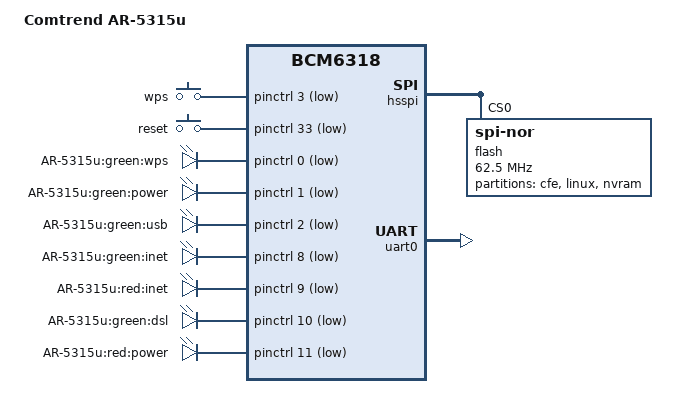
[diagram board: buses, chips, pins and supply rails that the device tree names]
/dts-v1/;

#include "bcm6318.dtsi"

#include <dt-bindings/input/input.h>

/ {
	model = "Comtrend AR-5315u";
	compatible = "comtrend,ar-5315u", "brcm,bcm6318";

	chosen {
		bootargs = "rootfstype=squashfs,jffs2 noinitrd console=ttyS0,115200";
		stdout-path = "serial0:115200n8";
	};

	gpio-keys-polled {
		compatible = "gpio-keys-polled";
		#address-cells = <1>;
		#size-cells = <0>;
		poll-interval = <20>;
		debounce-interval = <60>;

		wps {
			label = "wps";
			gpios = <&pinctrl 3 1>;
			linux,code = <KEY_WPS_BUTTON>;
		};
		reset {
			label = "reset";
			gpios = <&pinctrl 33 1>;
			linux,code = <KEY_RESTART>;
		};
	};

	gpio-leds {
		compatible = "gpio-leds";

		wps_green {
			label = "AR-5315u:green:wps";
			gpios = <&pinctrl 0 1>;
		};
		power_green {
			label = "AR-5315u:green:power";
			gpios = <&pinctrl 1 1>;
			default-state = "on";
		};
		usb_green {
			label = "AR-5315u:green:usb";
			gpios = <&pinctrl 2 1>;
		};
		inet_green {
			label = "AR-5315u:green:inet";
			gpios = <&pinctrl 8 1>;
		};
		inet_red {
			label = "AR-5315u:red:inet";
			gpios = <&pinctrl 9 1>;
		};
		dsl_green {
			label = "AR-5315u:green:dsl";
			gpios = <&pinctrl 10 1>;
		};
		power_red {
			label = "AR-5315u:red:power";
			gpios = <&pinctrl 11 1>;
		};
	};
};

&hsspi {
	status = "ok";

	flash@0 {
		compatible = "jedec,spi-nor";
		spi-max-frequency = <62500000>;
		spi-tx-bus-width = <2>;
		spi-rx-bus-width = <2>;
		reg = <0>;

		#address-cells = <1>;
		#size-cells = <1>;

		linux,part-probe = "bcm63xxpart";


		partitions {
			compatible = "fixed-partitions";
			#address-cells = <1>;
			#size-cells = <1>;

			cfe@0 {
				reg = <0x000000 0x010000>;
				label = "cfe";
				read-only;
			};

			linux@10000 {
				reg = <0x010000 0xfe0000>;
				label = "linux";
				compatible = "brcm,bcm963xx-imagetag";
			};

			nvram@ff0000 {
				reg = <0xff0000 0x010000>;
				label = "nvram";
			};
		};
	};
};

&pinctrl {
	pinctrl-names = "default";
	pinctrl-0 = <&pinctrl_ephy0_act_led &pinctrl_ephy1_act_led
		     &pinctrl_ephy2_act_led &pinctrl_ephy3_act_led>;
};

&uart0 {
	status = "ok";
};
